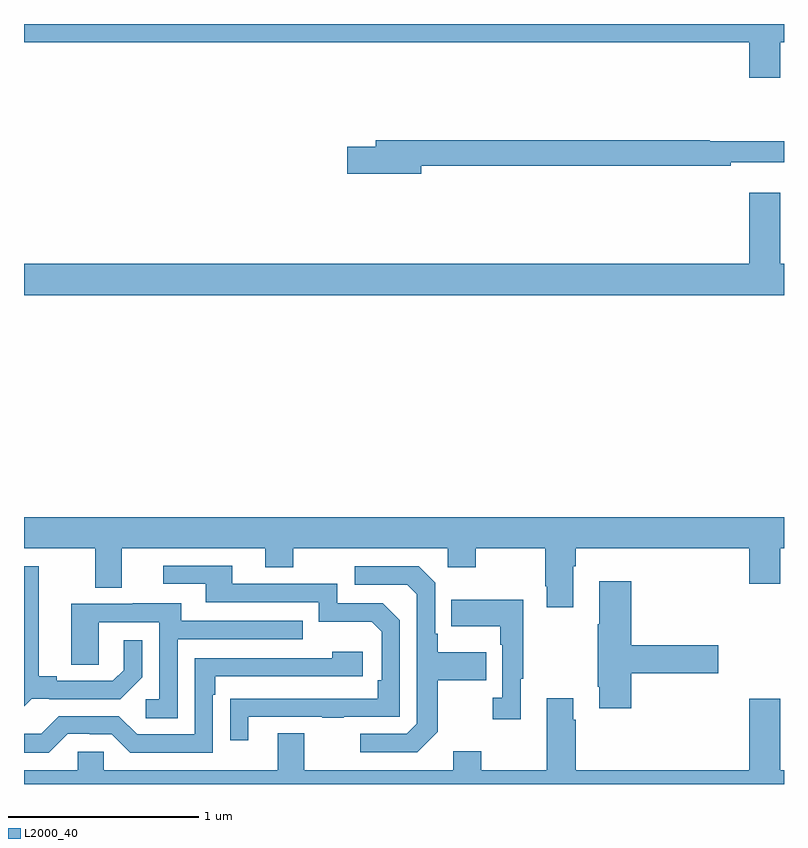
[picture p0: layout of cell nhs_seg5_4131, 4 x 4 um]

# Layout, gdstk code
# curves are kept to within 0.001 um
import gdstk
lib = gdstk.Library(unit=1e-6, precision=1e-09)
def P(c, l, *ps):  # polygons
    for p in ps: c.add(gdstk.Polygon(p, *l))
L2000_40 = (2000, 40)

nhs_seg5_4131 = lib.new_cell('nhs_seg5_4131')
P(nhs_seg5_4131, L2000_40, [(356.98,912.704),(357,912.704),(357,912.799),(353,912.799),(353,912.704),(356.816,912.704),(356.816,912.516),(356.98,912.516)],
  [(355.09,912.052),(356.72,912.052),(356.72,912.071),(357,912.071),(357,912.181),(356.608,912.181),(356.608,912.188),(354.851,912.188),(354.851,912.152),(354.702,912.152),(354.702,912.01),(355.09,912.01)],
  [(357,911.536),(356.98,911.536),(356.98,911.911),(356.816,911.911),(356.816,911.536),(353,911.536),(353,911.372),(357,911.372)],
  [(355.891,909.944),(355.904,909.944),(355.904,910.04),(356.816,910.04),(356.816,909.852),(356.98,909.852),(356.98,910.04),(357,910.04),(357,910.204),(353,910.204),(353,910.04),(353.375,910.04),(353.375,909.832),(353.515,909.832),(353.515,910.04),(354.269,910.04),(354.269,909.941),(354.417,909.941),(354.417,910.04),(355.23,910.04),(355.23,909.941),(355.377,909.941),(355.377,910.04),(355.744,910.04),(355.744,909.841),(355.751,909.841),(355.751,909.729),(355.891,909.729)],
  [(354.181,909.153),(354.571,909.153),(354.571,909.148),(354.683,909.148),(354.683,909.153),(354.978,909.153),(354.978,909.66),(354.888,909.75),(354.648,909.75),(354.648,909.852),(354.097,909.852),(354.097,909.948),(353.733,909.948),(353.733,909.852),(353.957,909.852),(353.957,909.756),(354.552,909.756),(354.552,909.653),(354.829,909.653),(354.882,909.6),(354.882,909.346),(354.862,909.346),(354.862,909.249),(354.085,909.248),(354.085,909.03),(354.181,909.03)],
  [(355.177,909.073),(355.177,909.346),(355.433,909.346),(355.433,909.493),(355.177,909.493),(355.177,909.589),(355.164,909.589),(355.164,909.858),(355.077,909.945),(354.741,909.945),(354.741,909.849),(355.017,909.849),(355.068,909.798),(355.068,909.117),(355.014,909.063),(354.771,909.063),(354.771,908.967),(355.071,908.967)],
  [(353.04,909.249),(353.134,909.249),(353.134,909.246),(353.506,909.246),(353.622,909.362),(353.622,909.556),(353.525,909.556),(353.525,909.399),(353.468,909.342),(353.173,909.342),(353.173,909.365),(353.077,909.365),(353.077,909.945),(353,909.945),(353,909.209)],
  [(356.195,909.383),(356.653,909.383),(356.653,909.53),(356.195,909.53),(356.195,909.865),(356.027,909.865),(356.027,909.641),(356.02,909.641),(356.02,909.31),(356.027,909.31),(356.027,909.198),(356.195,909.198)],
  [(355.615,909.353),(355.627,909.353),(355.627,909.769),(355.249,909.769),(355.249,909.629),(355.506,909.629),(355.506,909.533),(355.518,909.533),(355.518,909.254),(355.467,909.254),(355.467,909.141),(355.615,909.141)],
  [(353.808,909.561),(354.467,909.561),(354.467,909.657),(353.827,909.657),(353.827,909.751),(353.573,909.751),(353.573,909.747),(353.249,909.747),(353.249,909.427),(353.394,909.427),(353.394,909.651),(353.712,909.651),(353.712,909.246),(353.64,909.246),(353.64,909.145),(353.808,909.145)],
  [(353.229,909.063),(353.345,909.063),(353.345,909.06),(353.463,909.06),(353.559,908.964),(353.994,908.964),(353.994,909.269),(354.007,909.269),(354.007,909.366),(354.784,909.366),(354.784,909.496),(354.623,909.496),(354.623,909.462),(353.898,909.462),(353.898,909.06),(353.595,909.06),(353.499,909.156),(353.184,909.156),(353.091,909.063),(353,909.063),(353,908.963),(353.129,908.963)],
  [(357,908.872),(356.98,908.872),(356.98,909.247),(356.816,909.247),(356.816,908.872),(355.904,908.872),(355.904,909.137),(355.891,909.137),(355.891,909.25),(355.751,909.25),(355.751,908.872),(355.407,908.872),(355.407,908.971),(355.259,908.971),(355.259,908.872),(354.475,908.872),(354.475,909.067),(354.335,909.067),(354.335,908.872),(353.421,908.872),(353.421,908.97),(353.283,908.97),(353.283,908.872),(353,908.872),(353,908.799),(357,908.799)])

lib.write_gds('nhs_seg5_4131.gds')
